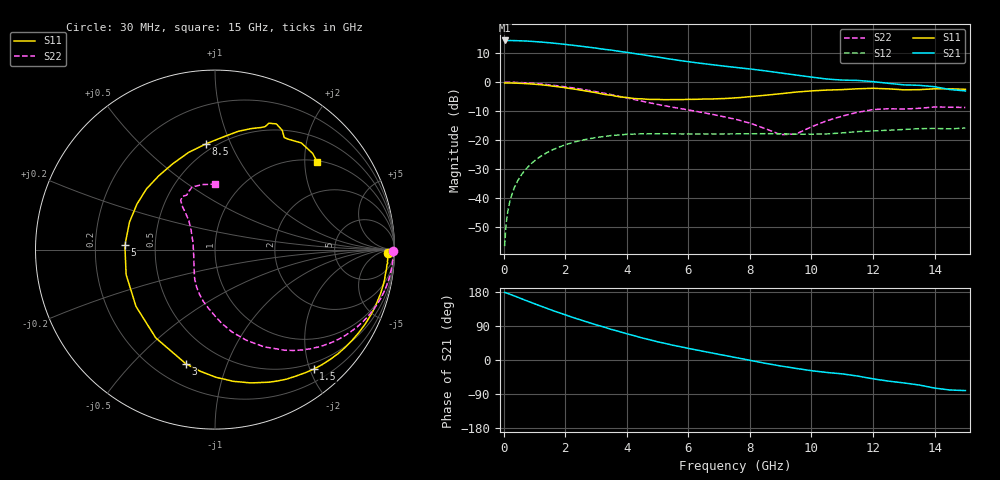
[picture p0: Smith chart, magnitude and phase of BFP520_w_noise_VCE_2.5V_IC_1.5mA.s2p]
! Infineon Technologies  Discrete & RF Semiconductors
! BFP520
! VCE =  2.5 V,  IC =  1.5 mA
! Common Emitter S-Parameters:  Oct 2015
# GHz  S  MA  R  50
!  f  S11  S21  S12  S22
! GHz  MAG  ANG  MAG  ANG  MAG  ANG  MAG  ANG
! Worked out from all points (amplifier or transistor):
!   109 points, 30 MHz to 15 GHz, reference 50 ohm
!   highest |S21| = 14.3 dB at 30 MHz (marker M1)
!   |S21| within 3 dB of that: start of sweep to 3.239 GHz
!   unconditionally stable (mu >= 1): 5.331 GHz to end of sweep
!   at 450 MHz: K = 0.06, MSG = 24.2 dB, |S12| = -34.1 dB
!   at 4 GHz: K = 0.67, MSG = 14.1 dB, |S12| = -18.0 dB
!   at 15 GHz: K = 1.77, MAG = 1.3 dB, |S12| = -15.8 dB
!   lowest NFmin = 0.90 dB at 900 MHz
!   S11 on the Smith chart (normalised r, x): 30 MHz: 43, -20; 1.5 GHz: 0.39, -2.06; 3 GHz: 0.32, -0.72; 5 GHz: 0.33, +0.02; 8.5 GHz: 0.45, +0.82; 15 GHz: 1.04, +2.31
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0.03  0.9626 -1.0  5.188 178.7  0.0015 60.0  0.9924 -0.6
0.08  0.9627 -2.5  5.166 177.3  0.0036 76.2  0.993 -1.6
0.15  0.9619 -4.9  5.165 175.0  0.0066 81.2  0.992 -3.1
0.35  0.9583 -11.5  5.156 168.9  0.0154 81.6  0.9873 -7.2
0.7  0.9406 -23.2  5.08 157.8  0.0308 76.5  0.9696 -14.4
1  0.9164 -33.4  4.969 148.5  0.0439 71.1  0.9456 -20.4
1.5  0.8636 -50.5  4.729 133.4  0.0647 61.4  0.892 -30.0
2  0.7974 -67.9  4.439 119.2  0.083 51.8  0.8267 -39.0
2.6  0.7118 -89.5  4.073 103.1  0.1012 40.7  0.7413 -49.0
3  0.6562 -104.4  3.834 93.0  0.1109 33.8  0.6812 -55.4
3.5  0.5923 -123.9  3.54 80.7  0.1203 25.4  0.6061 -63.3
4  0.5422 -144.3  3.244 69.1  0.1261 17.6  0.5327 -71.1
4.5  0.5144 -164.3  2.957 58.2  0.1287 10.6  0.4671 -78.5
5  0.5025 177.3  2.689 48.0  0.1288 4.9  0.4117 -84.9
5.1  0.4993 174.3  2.635 46.3  0.1286 4.0  0.4026 -85.9
6.2  0.5036 145.3  2.166 27.5  0.1279 -4.8  0.3165 -98.5
7.6  0.5368 114.0  1.769 5.5  0.1283 -13.1  0.2236 -118.1
8.5  0.592 94.7  1.555 -8.7  0.1292 -18.2  0.1576 -137.8
9.5  0.6715 78.9  1.318 -22.2  0.1271 -23.2  0.1278 163.3
10.5  0.7266 69.4  1.126 -32.9  0.1279 -24.6  0.216 132.2
13  0.7338 58.3  0.894 -60.5  0.1526 -36.8  0.3421 117.3
15  0.7496 40.5  0.703 -80.7  0.1619 -49.2  0.3647 90.3
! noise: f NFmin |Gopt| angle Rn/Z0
0.45  0.92  0.73  5  0.48
0.9  0.9  0.68  14  0.49
1.9  1.25  0.56  30  0.4
2.4  1.37  0.51  42  0.39
3.5  1.35  0.5  67  0.34
